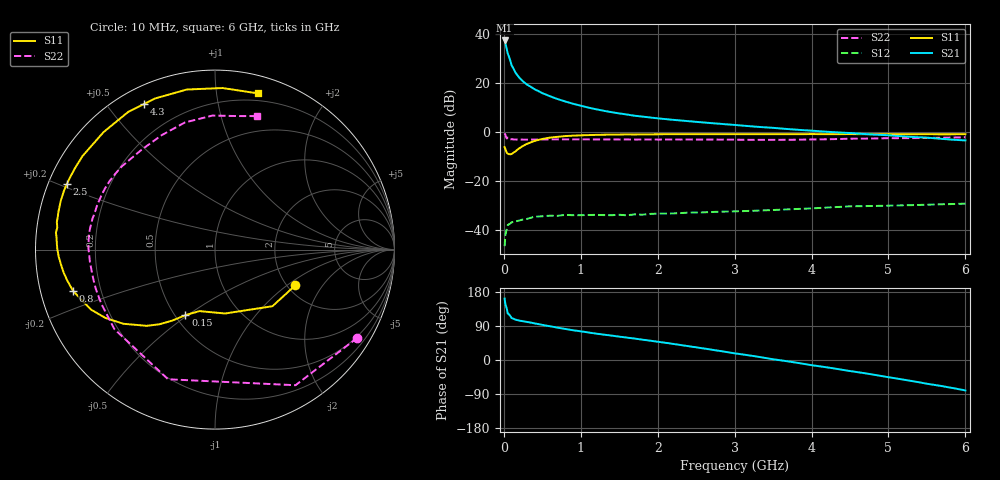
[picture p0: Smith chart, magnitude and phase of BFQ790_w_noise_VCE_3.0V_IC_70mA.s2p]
! (c) 2015  Infineon Technologies AG, Munich
! Infineon Technologies  Discrete & RF Semiconductors
! BFQ790
! VCE =  3.0 V,  IC =  70 mA
! Common Emitter S-Parameters:  May 2015
# GHz  S  MA  R  50
!  f  S11  S21  S12  S22
! GHz  MAG  ANG  MAG  ANG  MAG  ANG  MAG  ANG
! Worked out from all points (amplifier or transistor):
!   77 points, 10 MHz to 6 GHz, reference 50 ohm
!   highest |S21| = 37.5 dB at 10 MHz (marker M1)
!   |S21| within 3 dB of that: start of sweep to 34.09 MHz
!   unconditionally stable (mu >= 1): 1.321 GHz to end of sweep
!   at 130 MHz: K = 0.69, MSG = 31.2 dB, |S12| = -36.8 dB
!   at 2.2 GHz: K = 1.17, MAG = 16.7 dB, |S12| = -33.4 dB
!   at 6 GHz: K = 1.42, MAG = 9.1 dB, |S12| = -29.3 dB
!   lowest NFmin = 2.39 dB at 1.5 GHz
!   S11 on the Smith chart (normalised r, x): 10 MHz: 2.20, -1.16; 150 MHz: 0.56, -0.49; 800 MHz: 0.10, -0.14; 2.5 GHz: 0.05, +0.21; 4.3 GHz: 0.07, +0.62; 6 GHz: 0.14, +1.31
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0.01  0.4899 -24.0  74.67 162.0  0.0046 68.7  0.9329 -31.8
0.02  0.4493 -44.6  65.68 147.0  0.0077 57.5  0.8788 -59.3
0.05  0.3604 -81.1  40.79 123.1  0.0124 33.1  0.7683 -109.9
0.1  0.3534 -104.2  23.3 110.7  0.0141 20.3  0.7145 -141.7
0.15  0.4009 -114.3  16.48 106.5  0.0148 21.7  0.7016 -154.7
0.2  0.4622 -121.1  12.96 104.1  0.0154 19.9  0.6992 -161.7
0.25  0.519 -126.7  10.83 102.3  0.0162 18.9  0.6977 -166.2
0.3  0.5707 -131.9  9.347 100.4  0.0166 15.2  0.6975 -169.6
0.4  0.6567 -141.0  7.485 96.5  0.0185 12.6  0.7004 -174.5
0.5  0.7199 -148.1  6.25 92.7  0.0188 9.8  0.702 -178.0
0.6  0.7669 -154.1  5.386 89.0  0.0194 9.0  0.7054 179.2
0.7  0.7963 -159.6  4.706 85.3  0.0193 8.3  0.7058 176.8
0.8  0.8241 -163.9  4.206 81.9  0.0201 4.7  0.7063 175.0
1.1  0.8633 -174.8  3.157 72.6  0.02 2.2  0.7059 169.9
1.5  0.8852 175.7  2.399 61.7  0.0202 -1.9  0.7019 164.5
2.1  0.8989 164.4  1.835 45.5  0.0214 -4.1  0.7008 156.1
2.5  0.9023 156.1  1.612 33.5  0.0225 -7.9  0.7004 149.0
3.1  0.9005 142.5  1.351 14.8  0.024 -13.4  0.6927 135.9
4.1  0.9039 120.2  1.037 -16.5  0.0278 -24.5  0.7057 112.7
4.3  0.9023 115.9  0.988 -22.5  0.0289 -27.3  0.7145 107.9
5.1  0.9012 97.5  0.833 -48.6  0.0313 -40.6  0.7463 89.0
6  0.9028 74.5  0.672 -80.3  0.0342 -57.1  0.7791 72.7
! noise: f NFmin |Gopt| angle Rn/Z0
0.45  3.41  0.35  124  0.37
0.9  2.51  0.5  160  0.14
1.5  2.39  0.64  -177  0.07
1.8  2.55  0.66  -171  0.08
2.6  3.1  0.72  -154  0.18
3.5  3.83  0.82  -137  0.48
